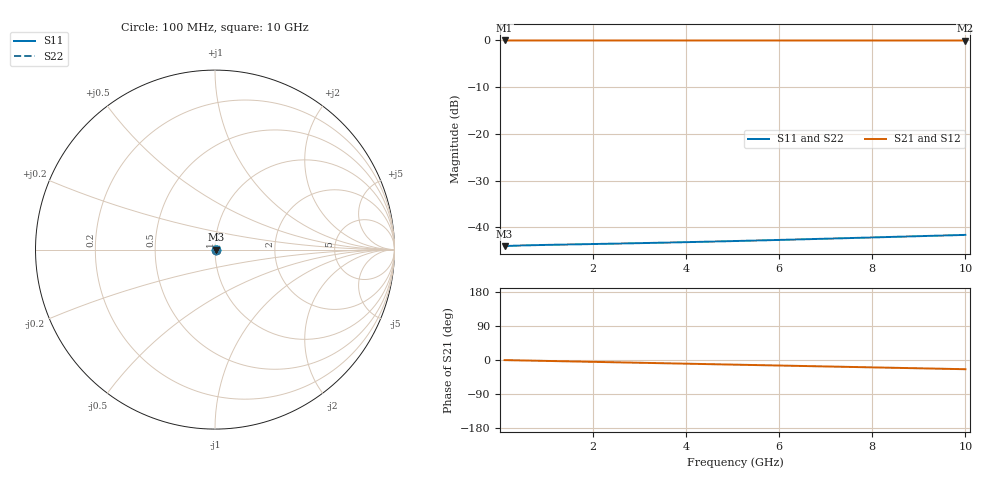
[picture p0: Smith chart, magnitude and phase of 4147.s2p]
# Hz S RI R 50.00
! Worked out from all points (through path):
!   100 points, 100 MHz to 10 GHz, reference 50 ohm
!   highest |S21| = -0.05 dB at 100 MHz (marker M1); lowest = -0.1 dB at 10 GHz (marker M2)
!   group delay of S21, straight-line fit = 6.76 ps
!   lowest |S11| = -44.0 dB at 100 MHz (marker M3), VSWR 1.01, Z = 50.6 + j0.00245 ohm
!   |S11| at or under -10 dB: start of sweep to end of sweep
!   |S22| runs from -44.0 to -41.6 dB; largest |S21 - S12| = 0
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1e8  0.0063 2.42e-05  0.9937 -0.00422  0.9937 -0.00422  0.0063 2.42e-05
2e8  0.00634 4.8e-05  0.9936 -0.00843  0.9936 -0.00843  0.00634 4.8e-05
3e8  0.00637 7.17e-05  0.9935 -0.0126  0.9935 -0.0126  0.00637 7.17e-05
4e8  0.00639 9.52e-05  0.9934 -0.0169  0.9934 -0.0169  0.00639 9.52e-05
6e8  0.00643 0.000142  0.9932 -0.0253  0.9932 -0.0253  0.00643 0.000142
1e9  0.0065 0.000233  0.9926 -0.0421  0.9926 -0.0421  0.0065 0.000233
1.8e9  0.0066 0.000412  0.9905 -0.0758  0.9905 -0.0758  0.0066 0.000412
2.2e9  0.00665 0.000498  0.989 -0.0926  0.989 -0.0926  0.00665 0.000498
2.6e9  0.0067 0.000583  0.9872 -0.1093  0.9872 -0.1093  0.0067 0.000583
3e9  0.00675 0.000666  0.9852 -0.1261  0.9852 -0.1261  0.00675 0.000666
3.4e9  0.00681 0.000747  0.9829 -0.1428  0.9829 -0.1428  0.00681 0.000747
3.8e9  0.00687 0.000825  0.9803 -0.1594  0.9803 -0.1594  0.00687 0.000825
4.2e9  0.00693 0.000901  0.9774 -0.1761  0.9774 -0.1761  0.00693 0.000901
4.6e9  0.007 0.000974  0.9742 -0.1926  0.9742 -0.1926  0.007 0.000974
5.1e9  0.00708 0.00106  0.9699 -0.2132  0.9699 -0.2132  0.00708 0.00106
5.9e9  0.00723 0.00119  0.962 -0.246  0.962 -0.246  0.00723 0.00119
6.7e9  0.00739 0.00131  0.953 -0.2785  0.953 -0.2785  0.00739 0.00131
7.5e9  0.00756 0.00141  0.943 -0.3107  0.943 -0.3107  0.00756 0.00141
7.9e9  0.00765 0.00146  0.9375 -0.3267  0.9375 -0.3267  0.00765 0.00146
8.4e9  0.00776 0.00151  0.9303 -0.3465  0.9303 -0.3465  0.00776 0.00151
9.2e9  0.00795 0.00158  0.9179 -0.3779  0.9179 -0.3779  0.00795 0.00158
1e10  0.00815 0.00163  0.9045 -0.4089  0.9045 -0.4089  0.00815 0.00163
